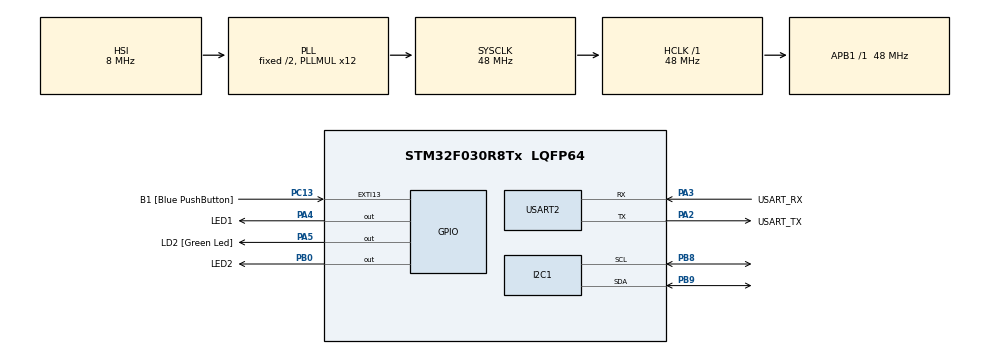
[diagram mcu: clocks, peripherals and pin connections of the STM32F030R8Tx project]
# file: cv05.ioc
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Dma.Request0=USART2_RX
Dma.USART2_RX.0.Direction=DMA_PERIPH_TO_MEMORY
Dma.USART2_RX.0.Instance=DMA1_Channel5
Dma.USART2_RX.0.MemDataAlignment=DMA_MDATAALIGN_BYTE
Dma.USART2_RX.0.MemInc=DMA_MINC_ENABLE
Dma.USART2_RX.0.Mode=DMA_CIRCULAR
Dma.USART2_RX.0.PeriphDataAlignment=DMA_PDATAALIGN_BYTE
Dma.USART2_RX.0.PeriphInc=DMA_PINC_DISABLE
Dma.USART2_RX.0.Priority=DMA_PRIORITY_LOW
Mcu.Family=STM32F0
Mcu.Name=STM32F030R8Tx
Mcu.Package=LQFP64
NVIC.DMA1_Channel4_5_IRQn=true\:0\:0\:false\:false\:true\:false\:true
PA13.GPIO_Label=TMS
PA13.Mode=Serial_Wire
PA13.Signal=SYS_SWDIO
PA14.GPIO_Label=TCK
PA14.Mode=Serial_Wire
PA14.Signal=SYS_SWCLK
PA2.GPIO_Label=USART_TX
PA2.GPIO_Mode=GPIO_MODE_AF_PP
PA2.GPIO_PuPd=GPIO_NOPULL
PA2.GPIO_Speed=GPIO_SPEED_FREQ_LOW
PA2.Mode=Asynchronous
PA2.Signal=USART2_TX
PA3.GPIO_Label=USART_RX
PA3.GPIO_Mode=GPIO_MODE_AF_PP
PA3.GPIO_PuPd=GPIO_NOPULL
PA3.GPIO_Speed=GPIO_SPEED_FREQ_LOW
PA3.Mode=Asynchronous
PA3.Signal=USART2_RX
PA4.GPIO_Label=LED1
PA4.Signal=GPIO_Output
PA5.GPIO_Label=LD2 [Green Led]
PA5.GPIO_Mode=GPIO_MODE_OUTPUT_PP
PA5.GPIO_PuPd=GPIO_NOPULL
PA5.GPIO_Speed=GPIO_SPEED_FREQ_LOW
PA5.Signal=GPIO_Output
PB0.GPIO_Label=LED2
PB0.Signal=GPIO_Output
PB8.Mode=I2C
PB8.Signal=I2C1_SCL
PB9.Mode=I2C
PB9.Signal=I2C1_SDA
PC13.GPIO_Label=B1 [Blue PushButton]
PC13.GPIO_ModeDefaultEXTI=GPIO_MODE_IT_FALLING
PC13.Signal=GPXTI13
PC14-OSC32_IN.Mode=LSE-External-Oscillator
PC14-OSC32_IN.Signal=RCC_OSC32_IN
PC15-OSC32_OUT.Mode=LSE-External-Oscillator
PC15-OSC32_OUT.Signal=RCC_OSC32_OUT
PF0-OSC_IN.Mode=HSE-External-Clock-Source
PF0-OSC_IN.Signal=RCC_OSC_IN
PF1-OSC_OUT.Signal=RCC_OSC_OUT
ProjectManager.HeapSize=0x200
ProjectManager.StackSize=0x400
ProjectManager.TargetToolchain=STM32CubeIDE
RCC.AHBFreq_Value=48000000
RCC.APB1Freq_Value=48000000
RCC.APB1TimFreq_Value=48000000
RCC.HCLKFreq_Value=48000000
RCC.PLLMUL=RCC_PLL_MUL12
RCC.SYSCLKFreq_VALUE=48000000
RCC.SYSCLKSource=RCC_SYSCLKSOURCE_PLLCLK
USART2.VirtualMode-Asynchronous=VM_ASYNC
board=NUCLEO-F030R8

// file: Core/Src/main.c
/* USER CODE BEGIN Header */
/**
  ******************************************************************************
  * @file           : main.c
  * @brief          : Main program body
  ******************************************************************************
  * @attention
  *
  * <h2><center>&copy; Copyright (c) 2021 STMicroelectronics.
  * All rights reserved.</center></h2>
  *
  * This software component is licensed by ST under BSD 3-Clause license,
  * the "License"; You may not use this file except in compliance with the
  * License. You may obtain a copy of the License at:
  *                        opensource.org/licenses/BSD-3-Clause
  *
  ******************************************************************************
  */
/* USER CODE END Header */
#include "main.h"

/* USER CODE BEGIN PD */
#define CMD_BUFFER_LEN 256
/* USER CODE END PD */

I2C_HandleTypeDef hi2c1;

UART_HandleTypeDef huart2;
DMA_HandleTypeDef hdma_usart2_rx;

void SystemClock_Config(void);
static void MX_GPIO_Init(void);
static void MX_USART2_UART_Init(void);
static void MX_DMA_Init(void);
static void MX_I2C1_Init(void);

/* USER CODE BEGIN 0 */
int _write(int file, char const *buf, int n)
{
	/* stdout redirection to UART2 */
	HAL_UART_Transmit(&huart2, (uint8_t*)(buf), n, HAL_MAX_DELAY);
	return n;
}

void uart_process_command(char* cmd) {
	char *token;
	token = strtok(cmd, " ");

	if (strcasecmp(token, "HELLO") == 0) {
		printf("Komunikace OK\n");
	}
	else if (strcasecmp(token, "LED1") == 0) {
		token = strtok(NULL, " ");
		if (strcasecmp(token, "ON") == 0) {
			HAL_GPIO_WritePin(LED1_GPIO_Port, LED1_Pin, 1);
		}
		else if (strcasecmp(token, "OFF") == 0) {
			HAL_GPIO_WritePin(LED1_GPIO_Port, LED1_Pin, 0);
		}
		printf("OK\n");
	}
	else if (strcasecmp(token, "LED2") == 0) {
		token = strtok(NULL, " ");
		if (strcasecmp(token, "ON") == 0) {
			HAL_GPIO_WritePin(LED1_GPIO_Port, LED1_Pin, 1);
		}
		else if (strcasecmp(token, "OFF") == 0) {
			HAL_GPIO_WritePin(LED1_GPIO_Port, LED1_Pin, 0);
		}
		printf("OK\n");
	}
	else if (strcasecmp(token, "STATUS") == 0) {
		printf("LED1 STATUS: %s", HAL_GPIO_ReadPin(LED1_GPIO_Port, LED1_Pin) ? "ON" : "OFF");
		printf("LED2 STATUS: %s", HAL_GPIO_ReadPin(LED2_GPIO_Port, LED2_Pin) ? "ON" : "OFF");
	}

}

static void uart_byte_available(uint8_t c)
{
	static uint16_t cnt;
	static char data[CMD_BUFFER_LEN];

	if (cnt < CMD_BUFFER_LEN && c >= 32 && c <= 126) data[cnt++] = c;

	if ((c == '\n' || c == '\r') && cnt > 0) {
		data[cnt] = '\0';
		uart_process_command(data);
		cnt = 0;
	}
}

/* USER CODE END 0 */

int main(void)
{

  /* MCU Configuration--------------------------------------------------------*/

  /* Reset of all peripherals, Initializes the Flash interface and the Systick. */
  HAL_Init();

  /* Configure the system clock */
  SystemClock_Config();

  /* Initialize all configured peripherals */
  MX_GPIO_Init();
  MX_USART2_UART_Init();
  MX_DMA_Init();
  MX_I2C1_Init();
  /* USER CODE BEGIN 2 */
  HAL_UART_Receive_DMA(&huart2, uart_rx_buf, RX_BUFFER_LEN);
  /* USER CODE END 2 */

  /* Infinite loop */
  while (1)
  {
	  while (uart_rx_read_ptr != uart_rx_write_ptr) {
	   uint8_t b = uart_rx_buf[uart_rx_read_ptr];
	   if (++uart_rx_read_ptr >= RX_BUFFER_LEN) uart_rx_read_ptr = 0; // increase read pointer
	   uart_byte_available(b); // process every received byte with the RX state machine
	  }
  }
}

void SystemClock_Config(void)
{
  RCC_OscInitTypeDef RCC_OscInitStruct = {0};
  RCC_ClkInitTypeDef RCC_ClkInitStruct = {0};
  RCC_PeriphCLKInitTypeDef PeriphClkInit = {0};

  /** Initializes the RCC Oscillators according to the specified parameters
  * in the RCC_OscInitTypeDef structure.
  */
  RCC_OscInitStruct.OscillatorType = RCC_OSCILLATORTYPE_HSI;
  RCC_OscInitStruct.HSIState = RCC_HSI_ON;
  RCC_OscInitStruct.HSICalibrationValue = RCC_HSICALIBRATION_DEFAULT;
  RCC_OscInitStruct.PLL.PLLState = RCC_PLL_ON;
  RCC_OscInitStruct.PLL.PLLSource = RCC_PLLSOURCE_HSI;
  RCC_OscInitStruct.PLL.PLLMUL = RCC_PLL_MUL12;
  RCC_OscInitStruct.PLL.PREDIV = RCC_PREDIV_DIV1;
  if (HAL_RCC_OscConfig(&RCC_OscInitStruct) != HAL_OK)
  {
    Error_Handler();
  }
  /** Initializes the CPU, AHB and APB buses clocks
  */
  RCC_ClkInitStruct.ClockType = RCC_CLOCKTYPE_HCLK|RCC_CLOCKTYPE_SYSCLK
                              |RCC_CLOCKTYPE_PCLK1;
  RCC_ClkInitStruct.SYSCLKSource = RCC_SYSCLKSOURCE_PLLCLK;
  RCC_ClkInitStruct.AHBCLKDivider = RCC_SYSCLK_DIV1;
  RCC_ClkInitStruct.APB1CLKDivider = RCC_HCLK_DIV1;

  if (HAL_RCC_ClockConfig(&RCC_ClkInitStruct, FLASH_LATENCY_1) != HAL_OK)
  {
    Error_Handler();
  }
  PeriphClkInit.PeriphClockSelection = RCC_PERIPHCLK_I2C1;
  PeriphClkInit.I2c1ClockSelection = RCC_I2C1CLKSOURCE_HSI;
  if (HAL_RCCEx_PeriphCLKConfig(&PeriphClkInit) != HAL_OK)
  {
    Error_Handler();
  }
}

static void MX_I2C1_Init(void)
{

  hi2c1.Instance = I2C1;
  hi2c1.Init.Timing = 0x2000090E;
  hi2c1.Init.OwnAddress1 = 0;
  hi2c1.Init.AddressingMode = I2C_ADDRESSINGMODE_7BIT;
  hi2c1.Init.DualAddressMode = I2C_DUALADDRESS_DISABLE;
  hi2c1.Init.OwnAddress2 = 0;
  hi2c1.Init.OwnAddress2Masks = I2C_OA2_NOMASK;
  hi2c1.Init.GeneralCallMode = I2C_GENERALCALL_DISABLE;
  hi2c1.Init.NoStretchMode = I2C_NOSTRETCH_DISABLE;
  if (HAL_I2C_Init(&hi2c1) != HAL_OK)
  {
    Error_Handler();
  }
  /** Configure Analogue filter
  */
  if (HAL_I2CEx_ConfigAnalogFilter(&hi2c1, I2C_ANALOGFILTER_ENABLE) != HAL_OK)
  {
    Error_Handler();
  }
  /** Configure Digital filter
  */
  if (HAL_I2CEx_ConfigDigitalFilter(&hi2c1, 0) != HAL_OK)
  {
    Error_Handler();
  }

}

static void MX_USART2_UART_Init(void)
{

  huart2.Instance = USART2;
  huart2.Init.BaudRate = 38400;
  huart2.Init.WordLength = UART_WORDLENGTH_8B;
  huart2.Init.StopBits = UART_STOPBITS_1;
  huart2.Init.Parity = UART_PARITY_NONE;
  huart2.Init.Mode = UART_MODE_TX_RX;
  huart2.Init.HwFlowCtl = UART_HWCONTROL_NONE;
  huart2.Init.OverSampling = UART_OVERSAMPLING_16;
  huart2.Init.OneBitSampling = UART_ONE_BIT_SAMPLE_DISABLE;
  huart2.AdvancedInit.AdvFeatureInit = UART_ADVFEATURE_NO_INIT;
  if (HAL_UART_Init(&huart2) != HAL_OK)
  {
    Error_Handler();
  }

}

static void MX_DMA_Init(void)
{

  /* DMA controller clock enable */
  __HAL_RCC_DMA1_CLK_ENABLE();

  /* DMA interrupt init */
  /* DMA1_Channel4_5_IRQn interrupt configuration */
  HAL_NVIC_SetPriority(DMA1_Channel4_5_IRQn, 0, 0);
  HAL_NVIC_EnableIRQ(DMA1_Channel4_5_IRQn);

}

static void MX_GPIO_Init(void)
{
  GPIO_InitTypeDef GPIO_InitStruct = {0};

  /* GPIO Ports Clock Enable */
  __HAL_RCC_GPIOC_CLK_ENABLE();
  __HAL_RCC_GPIOF_CLK_ENABLE();
  __HAL_RCC_GPIOA_CLK_ENABLE();
  __HAL_RCC_GPIOB_CLK_ENABLE();

  /*Configure GPIO pin Output Level */
  HAL_GPIO_WritePin(GPIOA, LED1_Pin|LD2_Pin, GPIO_PIN_RESET);

  /*Configure GPIO pin Output Level */
  HAL_GPIO_WritePin(LED2_GPIO_Port, LED2_Pin, GPIO_PIN_RESET);

  /*Configure GPIO pin : B1_Pin */
  GPIO_InitStruct.Pin = B1_Pin;
  GPIO_InitStruct.Mode = GPIO_MODE_IT_FALLING;
  GPIO_InitStruct.Pull = GPIO_NOPULL;
  HAL_GPIO_Init(B1_GPIO_Port, &GPIO_InitStruct);

  /*Configure GPIO pins : LED1_Pin LD2_Pin */
  GPIO_InitStruct.Pin = LED1_Pin|LD2_Pin;
  GPIO_InitStruct.Mode = GPIO_MODE_OUTPUT_PP;
  GPIO_InitStruct.Pull = GPIO_NOPULL;
  GPIO_InitStruct.Speed = GPIO_SPEED_FREQ_LOW;
  HAL_GPIO_Init(GPIOA, &GPIO_InitStruct);

  /*Configure GPIO pin : LED2_Pin */
  GPIO_InitStruct.Pin = LED2_Pin;
  GPIO_InitStruct.Mode = GPIO_MODE_OUTPUT_PP;
  GPIO_InitStruct.Pull = GPIO_NOPULL;
  GPIO_InitStruct.Speed = GPIO_SPEED_FREQ_LOW;
  HAL_GPIO_Init(LED2_GPIO_Port, &GPIO_InitStruct);

}

void Error_Handler(void)
{
  __disable_irq();
  while (1)
  {
  }
}

/************************ (C) COPYRIGHT STMicroelectronics *****END OF FILE****/
